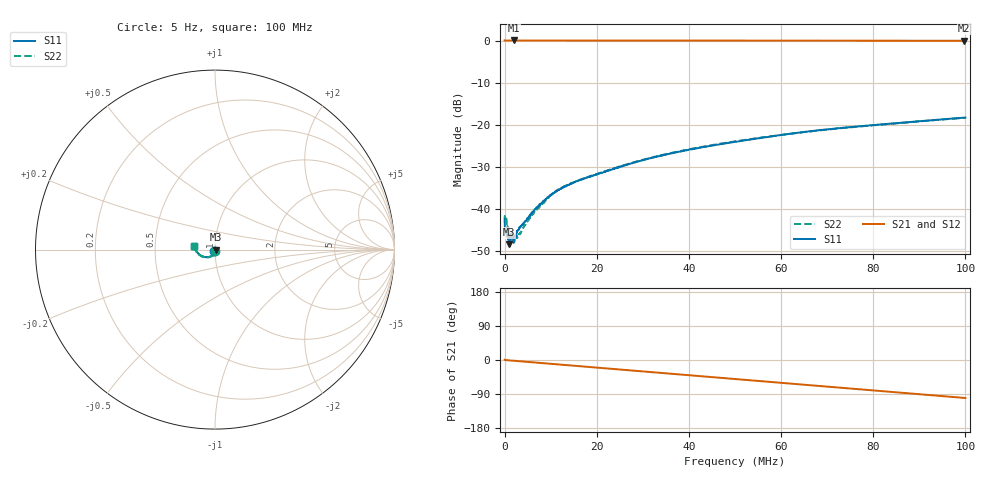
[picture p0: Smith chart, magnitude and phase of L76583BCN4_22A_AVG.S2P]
!Agilent Technologies,E5061B,MY49102235,A.02.00
!Date: Tue Jul 11 17:11:30 2023
!Data & Calibration Information:
!Freq	S11:SOLT2(ON)	S21:SOLT2(ON)	S12:SOLT2(ON)	S22:SOLT2(ON)
# Hz S RI R 50
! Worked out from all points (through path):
!   1600 points, 5 Hz to 100 MHz, reference 50 ohm
!   highest |S21| = 0.02 dB at 1.939 MHz (marker M1); lowest = -0.1 dB at 99.75 MHz (marker M2)
!   group delay of S21, straight-line fit = 2.79 ns
!   lowest |S11| = -48.4 dB at 1.001 MHz (marker M3), VSWR 1.01, Z = 50.4 - j0.0857 ohm
!   |S11| at or under -10 dB: start of sweep to end of sweep
!   |S22| runs from -48.9 to -18.4 dB; largest |S21 - S12| = 0.0029
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5  -0.00515 -0.00562  1.002 0.00792  1.001 0.0103  -0.0014 -0.00756
187622.3  0.00549 -0.00034  1.001 -0.00216  1.001 -0.000917  0.00738 -0.00236
625395.8  0.00511 -0.000689  1.002 -0.0104  1.002 -0.00992  0.00611 -0.00104
1000630  0.00371 -0.000851  1.001 -0.0166  1.001 -0.0158  0.00509 -0.00178
1563482  0.00429 -0.00301  1.001 -0.0264  1.001 -0.0252  0.00309 -0.0036
1938717  0.00306 -0.00247  1.002 -0.0338  1.001 -0.0329  0.00337 -0.00221
2376490  0.00324 -0.00316  1 -0.0414  1 -0.0412  0.00388 -0.00284
3064420  0.00408 -0.00391  1 -0.0536  0.9989 -0.053  0.00298 -0.00377
6003757  0.00321 -0.00829  0.9956 -0.1049  0.9954 -0.1042  0.00277 -0.0081
9505946  0.00131 -0.0137  0.9873 -0.166  0.9873 -0.1653  0.000694 -0.0137
1.163227e7  -0.000264 -0.0168  0.9805 -0.2025  0.9801 -0.2018  -0.0012 -0.0167
1.669794e7  -0.00426 -0.0219  0.9581 -0.2885  0.9579 -0.2878  -0.00466 -0.022
2.582865e7  -0.012 -0.0302  0.9002 -0.4373  0.8998 -0.4367  -0.00994 -0.0314
3.333334e7  -0.0213 -0.0364  0.8345 -0.5513  0.8344 -0.5506  -0.0199 -0.0375
4.033771e7  -0.0311 -0.0403  0.7605 -0.6489  0.7605 -0.6481  -0.0307 -0.0414
5.003127e7  -0.0462 -0.042  0.6396 -0.7678  0.6396 -0.7672  -0.0463 -0.043
6.672921e7  -0.0765 -0.0354  0.3903 -0.918  0.3908 -0.9176  -0.0757 -0.0354
7.53596e7  -0.0905 -0.0253  0.2478 -0.9653  0.2482 -0.9648  -0.0897 -0.0261
8.33646e7  -0.1017 -0.0122  0.1106 -0.9897  0.1109 -0.9895  -0.1009 -0.0142
9.155722e7  -0.1117 0.00344  -0.032 -0.9942  -0.0316 -0.994  -0.1114 0.000245
9.974984e7  -0.1195 0.0209  -0.1734 -0.9782  -0.1728 -0.9782  -0.119 0.018
1e8  -0.1196 0.0214  -0.1777 -0.9776  -0.1772 -0.9775  -0.1194 0.0187
